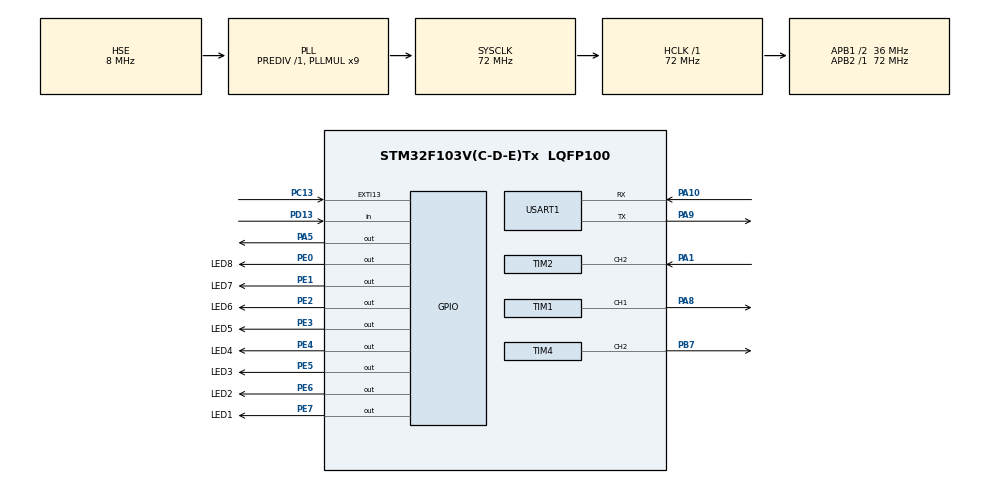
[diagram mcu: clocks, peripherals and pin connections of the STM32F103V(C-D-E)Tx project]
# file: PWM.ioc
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Dma.Request0=USART1_RX
Dma.Request1=USART1_TX
Dma.USART1_RX.0.Direction=DMA_PERIPH_TO_MEMORY
Dma.USART1_RX.0.Instance=DMA1_Channel5
Dma.USART1_RX.0.MemDataAlignment=DMA_MDATAALIGN_BYTE
Dma.USART1_RX.0.MemInc=DMA_MINC_ENABLE
Dma.USART1_RX.0.Mode=DMA_NORMAL
Dma.USART1_RX.0.PeriphDataAlignment=DMA_PDATAALIGN_BYTE
Dma.USART1_RX.0.PeriphInc=DMA_PINC_DISABLE
Dma.USART1_RX.0.Priority=DMA_PRIORITY_HIGH
Dma.USART1_TX.1.Direction=DMA_MEMORY_TO_PERIPH
Dma.USART1_TX.1.Instance=DMA1_Channel4
Dma.USART1_TX.1.MemDataAlignment=DMA_MDATAALIGN_BYTE
Dma.USART1_TX.1.MemInc=DMA_MINC_ENABLE
Dma.USART1_TX.1.Mode=DMA_NORMAL
Dma.USART1_TX.1.PeriphDataAlignment=DMA_PDATAALIGN_BYTE
Dma.USART1_TX.1.PeriphInc=DMA_PINC_DISABLE
Dma.USART1_TX.1.Priority=DMA_PRIORITY_HIGH
Mcu.Family=STM32F1
Mcu.Name=STM32F103V(C-D-E)Tx
Mcu.Package=LQFP100
NVIC.DMA1_Channel4_IRQn=true\:0\:1\:false\:false\:true\:false\:true
NVIC.DMA1_Channel5_IRQn=true\:0\:1\:false\:false\:true\:false\:true
NVIC.EXTI15_10_IRQn=true\:1\:2\:true\:false\:true\:true\:true
NVIC.PriorityGroup=NVIC_PRIORITYGROUP_2
NVIC.TIM1_UP_IRQn=true\:0\:1\:false\:false\:true\:true\:true
NVIC.TIM2_IRQn=true\:0\:0\:false\:false\:true\:true\:true
NVIC.USART1_IRQn=true\:0\:3\:false\:false\:true\:true\:true
OSC_IN.Mode=HSE-External-Oscillator
OSC_IN.Signal=RCC_OSC_IN
OSC_OUT.Mode=HSE-External-Oscillator
OSC_OUT.Signal=RCC_OSC_OUT
PA1.GPIO_PuPd=GPIO_PULLUP
PA1.Signal=S_TIM2_CH2
PA10.Mode=Asynchronous
PA10.Signal=USART1_RX
PA5.Signal=GPIO_Output
PA8.Signal=S_TIM1_CH1
PA9.Mode=Asynchronous
PA9.Signal=USART1_TX
PB7.Signal=S_TIM4_CH2
PC13-TAMPER-RTC.GPIO_ModeDefaultEXTI=GPIO_MODE_IT_FALLING
PC13-TAMPER-RTC.GPIO_PuPd=GPIO_PULLUP
PC13-TAMPER-RTC.Signal=GPXTI13
PC14-OSC32_IN.Mode=LSE-External-Oscillator
PC14-OSC32_IN.Signal=RCC_OSC32_IN
PC15-OSC32_OUT.Mode=LSE-External-Oscillator
PC15-OSC32_OUT.Signal=RCC_OSC32_OUT
PD13.GPIO_PuPd=GPIO_PULLUP
PD13.Signal=GPIO_Input
PE0.GPIO_Label=LED8
PE0.PinState=GPIO_PIN_RESET
PE0.Signal=GPIO_Output
PE1.GPIO_Label=LED7
PE1.Signal=GPIO_Output
PE2.GPIO_Label=LED6
PE2.Signal=GPIO_Output
PE3.GPIO_Label=LED5
PE3.Signal=GPIO_Output
PE4.GPIO_Label=LED4
PE4.Signal=GPIO_Output
PE5.GPIO_Label=LED3
PE5.Signal=GPIO_Output
PE6.GPIO_Label=LED2
PE6.Signal=GPIO_Output
PE7.GPIO_Label=LED1
PE7.Signal=GPIO_Output
ProjectManager.HeapSize=0x200
ProjectManager.StackSize=0x400
ProjectManager.TargetToolchain=MDK-ARM V5
RCC.AHBFreq_Value=72000000
RCC.APB1CLKDivider=RCC_HCLK_DIV2
RCC.APB1Freq_Value=36000000
RCC.APB1TimFreq_Value=72000000
RCC.APB2Freq_Value=72000000
RCC.APB2TimFreq_Value=72000000
RCC.HCLKFreq_Value=72000000
RCC.PLLMUL=RCC_PLL_MUL9
RCC.PLLSourceVirtual=RCC_PLLSOURCE_HSE
RCC.SYSCLKFreq_VALUE=72000000
RCC.SYSCLKSource=RCC_SYSCLKSOURCE_PLLCLK
RCC.USBFreq_Value=72000000
SH.S_TIM1_CH1.0=TIM1_CH1,PWM Generation1 CH1
SH.S_TIM2_CH2.0=TIM2_CH2,Input_Capture2_from_TI2
SH.S_TIM4_CH2.0=TIM4_CH2,PWM Generation2 CH2
TIM1.AutoReloadPreload=TIM_AUTORELOAD_PRELOAD_ENABLE
TIM1.Channel-PWM\ Generation1\ CH1=TIM_CHANNEL_1
TIM1.OCIdleState_1=TIM_OCIDLESTATE_RESET
TIM1.OCPolarity_1=TIM_OCPOLARITY_LOW
TIM1.Period=100-1
TIM1.Prescaler=7200-1
TIM1.Pulse-PWM\ Generation1\ CH1=50
TIM2.AutoReloadPreload=TIM_AUTORELOAD_PRELOAD_ENABLE
TIM2.Channel-Input_Capture2_from_TI2=TIM_CHANNEL_2
TIM2.ICPolarity_CH2=TIM_INPUTCHANNELPOLARITY_FALLING
TIM2.Period=0xFFFF-1
TIM2.Prescaler=72-1
TIM4.AutoReloadPreload=TIM_AUTORELOAD_PRELOAD_ENABLE
TIM4.Channel-PWM\ Generation2\ CH2=TIM_CHANNEL_2
TIM4.Period=20000-1
TIM4.Prescaler=72-1
TIM4.Pulse-PWM\ Generation2\ CH2=1500
USART1.VirtualMode=VM_ASYNC
VP_SYS_VS_ND.Mode=No_Debug
VP_TIM1_VS_ClockSourceINT.Mode=Internal
VP_TIM2_VS_ClockSourceINT.Mode=Internal
VP_TIM4_VS_ClockSourceINT.Mode=Internal
board=custom

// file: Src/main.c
/* USER CODE BEGIN Header */
/**
  ******************************************************************************
  * @file           : main.c
  * @brief          : Main program body
  ******************************************************************************
  * @attention
  *
  * <h2><center>&copy; Copyright (c) 2021 STMicroelectronics.
  * All rights reserved.</center></h2>
  *
  * This software component is licensed by ST under BSD 3-Clause license,
  * the "License"; You may not use this file except in compliance with the
  * License. You may obtain a copy of the License at:
  *                        opensource.org/licenses/BSD-3-Clause
  *
  ******************************************************************************
  */
/* USER CODE END Header */

#include "main.h"
#include "dma.h"
#include "tim.h"
#include "usart.h"
#include "gpio.h"

void SystemClock_Config(void);

/* USER CODE BEGIN 0 */
void InitXXX(void);
uint8_t flag = 0;
uint16_t capturebuf[3] = {0};
uint8_t capturecnt = 0;
uint16_t high_time = 0;
float distance = 999.9f;

/* USER CODE END 0 */

int main(void)
{
  /* USER CODE BEGIN 1 */
	uint8_t len;
	uint8_t cishu;
//	uint8_t dir=0;

  /* USER CODE END 1 */

  /* MCU Configuration--------------------------------------------------------*/

  /* Reset of all peripherals, Initializes the Flash interface and the Systick. */
  HAL_Init();

  /* Configure the system clock */
  SystemClock_Config();

  /* Initialize all configured peripherals */
  MX_GPIO_Init();
  MX_DMA_Init();
  MX_USART1_UART_Init();
  MX_TIM1_Init();
  MX_TIM2_Init();
  MX_TIM4_Init();
  /* USER CODE BEGIN 2 */
	InitXXX();
  /* USER CODE END 2 */

  /* Infinite loop */
  /* USER CODE BEGIN WHILE */
  while (1)
  {
		if(DMA_usart1_Rx_Flag==1)
		{
			DMA_usart1_Rx_Flag=0;
			RevData_Process();
			len=DMA_usart1_Rx_Size;
			for(uint8_t m=0;m<len;m++)
			{
				USART1_DMA_TX_BUFFER[m] = USART_RX_BUF[m];
			}
      USER_DMA_send(USART1_DMA_TX_BUFFER,len);
		}

    if(flag)
		{
			switch(capturecnt)
			{
				case 0:
					capturecnt++;
					HAL_GPIO_WritePin(GPIOA,GPIO_PIN_5,GPIO_PIN_RESET);
				  HAL_Delay(1);
				  HAL_GPIO_WritePin(GPIOA,GPIO_PIN_5,GPIO_PIN_SET);
				  HAL_Delay(1);
				  HAL_GPIO_WritePin(GPIOA,GPIO_PIN_5,GPIO_PIN_RESET);

					__HAL_TIM_SET_CAPTUREPOLARITY(&htim2,TIM_CHANNEL_2,TIM_INPUTCHANNELPOLARITY_RISING);
					HAL_TIM_IC_Start_IT(&htim2,TIM_CHANNEL_2);
				break;
				case 3:
					high_time = capturebuf[1] - capturebuf[0];
				  capturecnt = 0;
				  HAL_Delay(100);

				  distance = high_time*0.017;
				  printf("%0.2f cm ",distance);

				  if(distance<60.0f)
					{
						cishu++;
						if(cishu>10)
						{
							cishu = 10;
							//TIM4->CCR2 = 1500;
							HAL_TIM_PWM_Start(&htim1,TIM_CHANNEL_1);
							HAL_GPIO_TogglePin(GPIOE,GPIO_PIN_0|GPIO_PIN_1|GPIO_PIN_2|GPIO_PIN_3|GPIO_PIN_4|GPIO_PIN_5|GPIO_PIN_6|GPIO_PIN_7);

						}
					}
					else
					{
						cishu=0;
						//TIM4->CCR2 = 2500;
						HAL_TIM_PWM_Stop(&htim1,TIM_CHANNEL_1);
					}
					printf("  %d \r\n",cishu);
				break;

			}

//			lastcount = tim2count;
//
//			while((tim2count-lastcount)<=1){};
//
//      lastcount = tim2count;
//			while((tim2count-lastcount)<=1){};
//			HAL_GPIO_WritePin(GPIOA,GPIO_PIN_5,GPIO_PIN_RESET);

//			while(0==HAL_GPIO_ReadPin(GPIOA,GPIO_PIN_6)){};
//      lastcount = tim2count;
//			while(1==HAL_GPIO_ReadPin(GPIOA,GPIO_PIN_6)){};
//
//			timetotalus = tim2count-lastcount;
//
//      dista= timetotalus *0.34f;
//			distance=(uint16_t)dista;

		}

    /* USER CODE END WHILE */

  }
}

void SystemClock_Config(void)
{
  RCC_OscInitTypeDef RCC_OscInitStruct = {0};
  RCC_ClkInitTypeDef RCC_ClkInitStruct = {0};

  /** Initializes the CPU, AHB and APB busses clocks
  */
  RCC_OscInitStruct.OscillatorType = RCC_OSCILLATORTYPE_HSE;
  RCC_OscInitStruct.HSEState = RCC_HSE_ON;
  RCC_OscInitStruct.HSEPredivValue = RCC_HSE_PREDIV_DIV1;
  RCC_OscInitStruct.HSIState = RCC_HSI_ON;
  RCC_OscInitStruct.PLL.PLLState = RCC_PLL_ON;
  RCC_OscInitStruct.PLL.PLLSource = RCC_PLLSOURCE_HSE;
  RCC_OscInitStruct.PLL.PLLMUL = RCC_PLL_MUL9;
  if (HAL_RCC_OscConfig(&RCC_OscInitStruct) != HAL_OK)
  {
    Error_Handler();
  }
  /** Initializes the CPU, AHB and APB busses clocks
  */
  RCC_ClkInitStruct.ClockType = RCC_CLOCKTYPE_HCLK|RCC_CLOCKTYPE_SYSCLK
                              |RCC_CLOCKTYPE_PCLK1|RCC_CLOCKTYPE_PCLK2;
  RCC_ClkInitStruct.SYSCLKSource = RCC_SYSCLKSOURCE_PLLCLK;
  RCC_ClkInitStruct.AHBCLKDivider = RCC_SYSCLK_DIV1;
  RCC_ClkInitStruct.APB1CLKDivider = RCC_HCLK_DIV2;
  RCC_ClkInitStruct.APB2CLKDivider = RCC_HCLK_DIV1;

  if (HAL_RCC_ClockConfig(&RCC_ClkInitStruct, FLASH_LATENCY_2) != HAL_OK)
  {
    Error_Handler();
  }
}

/* USER CODE BEGIN 4 */
void InitXXX(void)
{
	//HAL_UART_Receive_IT(&huart1, (uint8_t *)aRxBuffer, RXBUFFERSIZE);//该函数会开启接收中断：标志位UART_IT_RXNE，并且设置接收缓冲以及接收缓冲接收最大数据量

	__HAL_UART_ENABLE_IT(&huart1,UART_IT_IDLE);//使能IDLE中断
	HAL_UART_Receive_DMA(&huart1,USART1_DMA_RX_BUFFER,USART1_DMA_RX_SIZE);//打开DMA接收，数据存入USART1_DMA_RX_BUFFER数组中

	//HAL_TIM_Base_Start_IT(&htim1);
	HAL_TIM_PWM_Start(&htim4,TIM_CHANNEL_2);
	//HAL_TIM_Base_Start_IT(&htim2);
}

void HAL_GPIO_EXTI_Callback(uint16_t GPIO_Pin)
{
	switch(GPIO_Pin)
	{
		case GPIO_PIN_13:
			flag ^=1;
			break;
		default:
			break;

	}
}

void HAL_TIM_IC_CaptureCallback(TIM_HandleTypeDef *htim)
{
	if(htim->Instance == TIM2)
	{
		switch(capturecnt)
		{
			case 1:
				capturebuf[0] = HAL_TIM_ReadCapturedValue(&htim2,TIM_CHANNEL_2);
			  __HAL_TIM_SET_CAPTUREPOLARITY(&htim2,TIM_CHANNEL_2,TIM_INPUTCHANNELPOLARITY_FALLING);
			  capturecnt++;

				break;
			case 2:
				capturebuf[1] = HAL_TIM_ReadCapturedValue(&htim2,TIM_CHANNEL_2);
			  HAL_TIM_IC_Stop_IT(&htim2,TIM_CHANNEL_2);
			  capturecnt++;
				break;
		}
	}
}

/* USER CODE END 4 */

void Error_Handler(void)
{
}

/************************ (C) COPYRIGHT STMicroelectronics *****END OF FILE****/
